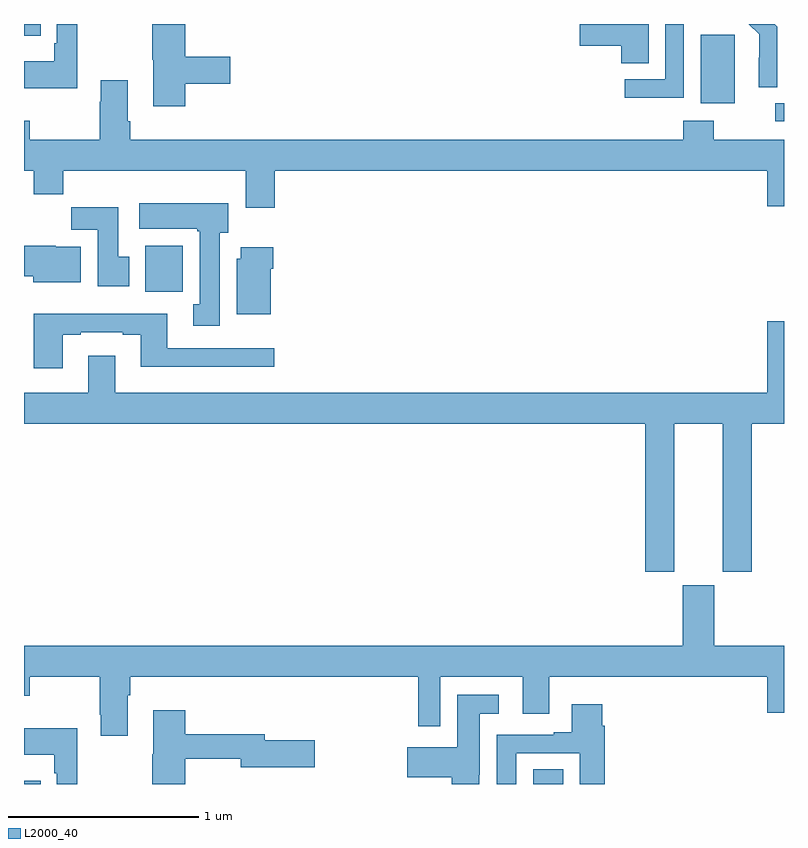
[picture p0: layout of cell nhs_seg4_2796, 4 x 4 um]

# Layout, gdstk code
import gdstk
lib = gdstk.Library(unit=1e-6, precision=1e-09)
def R(c, l, rs):  # rectangles x0, y0, x1, y1
    for r in rs: c.add(gdstk.rectangle(r[:2], r[2:], *l))
def P(c, l, *ps):  # polygons
    for p in ps: c.add(gdstk.Polygon(p, *l))
L2000_40 = (2000, 40)

nhs_seg4_2796 = lib.new_cell('nhs_seg4_2796')
R(nhs_seg4_2796, L2000_40, [(257,818.9,257.087,818.917), (259.679,818.9,259.837,818.978), (257.639,821.492,257.836,821.734), (260.955,822.387,261,822.483), (260.561,822.482,260.74,822.843), (257,822.839,257.087,822.9)])
P(nhs_seg4_2796, L2000_40, [(257.281,822.9),(257.172,822.9),(257.172,822.799),(257.16,822.799),(257.16,822.703),(257,822.703),(257,822.563),(257.281,822.563)],
  [(257.849,822.586),(258.085,822.586),(258.085,822.728),(257.849,822.728),(257.849,822.9),(257.674,822.9),(257.674,822.711),(257.681,822.711),(257.681,822.468),(257.849,822.468)],
  [(260.472,822.9),(260.376,822.9),(260.376,822.609),(260.163,822.609),(260.163,822.511),(260.472,822.511)],
  [(260.964,822.886),(260.95,822.9),(260.814,822.9),(260.87,822.845),(260.87,822.722),(260.868,822.722),(260.868,822.568),(260.964,822.568)],
  [(260.287,822.9),(259.926,822.9),(259.926,822.785),(260.144,822.785),(260.144,822.694),(260.287,822.694)],
  [(258.32,822.128),(260.912,822.128),(260.912,821.94),(261,821.94),(261,822.292),(260.631,822.292),(260.631,822.391),(260.471,822.391),(260.471,822.292),(257.558,822.292),(257.558,822.388),(257.545,822.388),(257.545,822.604),(257.405,822.604),(257.405,822.491),(257.398,822.491),(257.398,822.292),(257.031,822.292),(257.031,822.391),(257,822.391),(257,822.128),(257.051,822.128),(257.051,822.004),(257.207,822.004),(257.207,822.128),(258.167,822.128),(258.167,821.934),(258.32,821.934)],
  [(258.031,821.802),(258.076,821.802),(258.076,821.956),(257.607,821.956),(257.607,821.822),(257.911,821.822),(257.911,821.809),(257.924,821.809),(257.924,821.426),(257.891,821.426),(257.891,821.313),(258.031,821.313)],
  [(257.554,821.676),(257.497,821.676),(257.497,821.935),(257.248,821.935),(257.248,821.816),(257.387,821.816),(257.387,821.52),(257.554,821.52)],
  [(257.299,821.728),(257.166,821.728),(257.166,821.734),(257,821.734),(257,821.573),(257.048,821.573),(257.048,821.54),(257.299,821.54)],
  [(258.298,821.612),(258.311,821.612),(258.311,821.725),(258.14,821.725),(258.14,821.664),(258.119,821.664),(258.119,821.372),(258.298,821.372)],
  [(257.203,821.265),(257.299,821.265),(257.299,821.277),(257.519,821.277),(257.519,821.265),(257.615,821.265),(257.615,821.096),(258.316,821.096),(258.316,821.193),(257.755,821.193),(257.755,821.374),(257.051,821.374),(257.051,821.088),(257.203,821.088)],
  [(260.422,820.796),(260.678,820.796),(260.678,820.017),(260.831,820.017),(260.831,820.796),(261,820.796),(261,821.335),(260.912,821.335),(260.912,820.96),(257.479,820.96),(257.479,821.155),(257.339,821.155),(257.339,820.96),(257,820.96),(257,820.796),(260.27,820.796),(260.27,820.017),(260.422,820.017)],
  [(257.545,819.368),(257.558,819.368),(257.558,819.464),(259.075,819.464),(259.075,819.204),(259.191,819.204),(259.191,819.464),(259.625,819.464),(259.625,819.27),(259.765,819.27),(259.765,819.464),(260.912,819.464),(260.912,819.276),(261,819.276),(261,819.628),(260.632,819.628),(260.632,819.945),(260.468,819.945),(260.468,819.628),(257,819.628),(257,819.365),(257.031,819.365),(257.031,819.464),(257.398,819.464),(257.398,819.265),(257.405,819.265),(257.405,819.153),(257.545,819.153)],
  [(259.395,818.95),(259.399,818.95),(259.399,819.269),(259.498,819.269),(259.498,819.37),(259.28,819.37),(259.28,819.094),(259.017,819.094),(259.017,818.936),(259.25,818.936),(259.25,818.9),(259.395,818.9)],
  [(259.591,819.063),(259.925,819.063),(259.925,818.9),(260.057,818.9),(260.057,819.206),(260.044,819.206),(260.044,819.319),(259.883,819.319),(259.883,819.172),(259.787,819.172),(259.787,819.159),(259.487,819.159),(259.487,818.9),(259.591,818.9)],
  [(257.849,819.034),(258.14,819.034),(258.14,818.987),(258.529,818.987),(258.529,819.129),(258.268,819.129),(258.268,819.163),(257.849,819.163),(257.849,819.289),(257.681,819.289),(257.681,819.057),(257.674,819.057),(257.674,818.9),(257.849,818.9)],
  [(257.281,819.193),(257,819.193),(257,819.053),(257.16,819.053),(257.16,818.957),(257.172,818.957),(257.172,818.9),(257.281,818.9)])

lib.write_gds('nhs_seg4_2796.gds')
